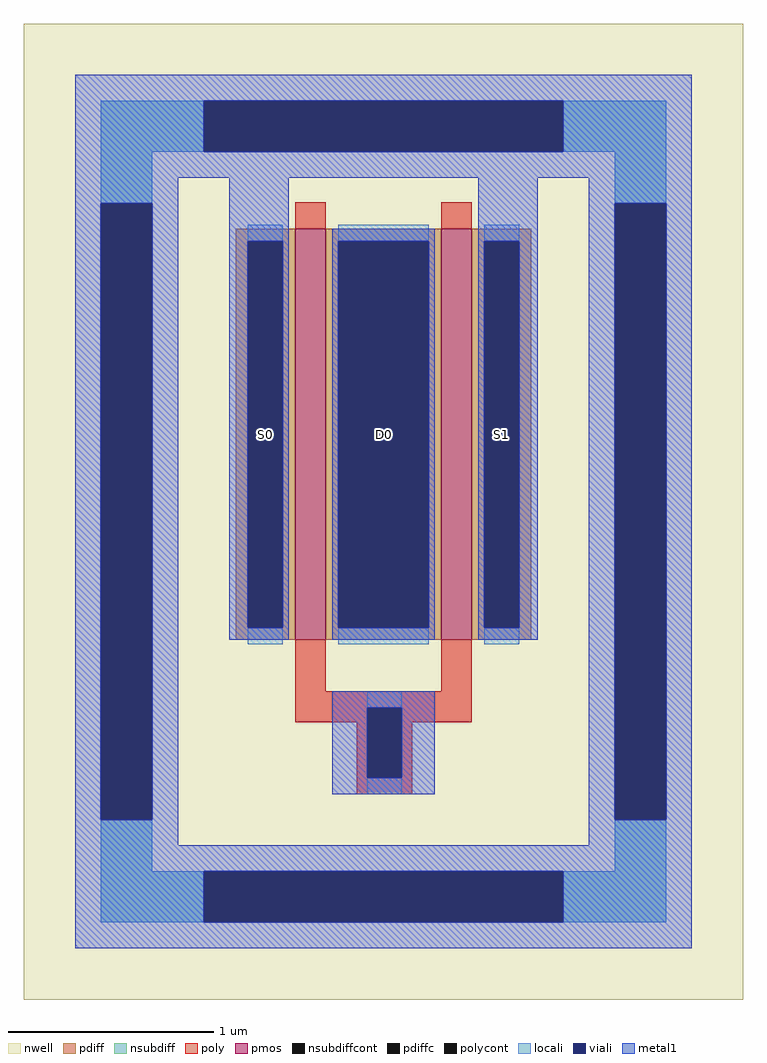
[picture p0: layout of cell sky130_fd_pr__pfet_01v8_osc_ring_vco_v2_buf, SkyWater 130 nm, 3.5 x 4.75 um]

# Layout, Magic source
magic
tech sky130A
magscale 1 2
<< nwell >>
rect -350 -200 350 750
<< pmos >>
rect -86 150 -56 550
rect 56 150 86 550
<< pdiff >>
rect -144 538 -86 550
rect -144 162 -132 538
rect -98 162 -86 538
rect -144 150 -86 162
rect -56 538 56 550
rect -56 162 -44 538
rect 44 162 56 538
rect -56 150 56 162
rect 86 538 144 550
rect 86 162 98 538
rect 132 162 144 538
rect 86 150 144 162
<< pdiffc >>
rect -132 162 -98 538
rect -44 162 44 538
rect 98 162 132 538
<< nsubdiff >>
rect -275 625 -175 675
rect 175 625 275 675
rect -275 575 -225 625
rect 225 575 275 625
rect -275 -75 -225 -25
rect 225 -75 275 -25
rect -275 -125 -175 -75
rect 175 -125 275 -75
<< nsubdiffcont >>
rect -175 625 175 675
rect -275 -25 -225 575
rect 225 -25 275 575
rect -175 -125 175 -75
<< poly >>
rect -86 550 -56 576
rect 56 550 86 576
rect -86 100 -56 150
rect 56 100 86 150
rect -86 84 86 100
rect -86 70 -16 84
rect -26 16 -16 70
rect 18 70 86 84
rect 18 16 28 70
rect -26 0 28 16
<< polycont >>
rect -16 16 18 84
<< locali >>
rect -275 625 -175 675
rect 175 625 275 675
rect -275 575 -225 625
rect 225 575 275 625
rect -132 538 -98 554
rect -132 146 -98 162
rect -44 538 44 554
rect -44 146 44 162
rect 98 538 132 554
rect 98 146 132 162
rect -16 84 18 100
rect -16 0 18 16
rect -275 -75 -225 -25
rect 225 -75 275 -25
rect -275 -125 -175 -75
rect 175 -125 275 -75
<< viali >>
rect -175 625 175 675
rect -275 -25 -225 575
rect -132 162 -98 538
rect -44 162 44 538
rect 98 162 132 538
rect -16 16 18 84
rect 225 -25 275 575
rect -175 -125 175 -75
<< metal1 >>
rect -300 675 300 700
rect -300 625 -175 675
rect 175 625 300 675
rect -300 600 300 625
rect -300 575 -200 600
rect -300 -25 -275 575
rect -225 -25 -200 575
rect -150 538 -92 600
rect -150 162 -132 538
rect -98 162 -92 538
rect -150 150 -92 162
rect -50 538 50 550
rect -50 162 -44 538
rect 44 162 50 538
rect -50 150 50 162
rect 92 538 150 600
rect 92 162 98 538
rect 132 162 150 538
rect 92 150 150 162
rect 200 575 300 600
rect -50 84 50 100
rect -50 16 -16 84
rect 18 16 50 84
rect -50 0 50 16
rect -300 -50 -200 -25
rect 200 -25 225 575
rect 275 -25 300 575
rect 200 -50 300 -25
rect -300 -75 300 -50
rect -300 -125 -175 -75
rect 175 -125 300 -75
rect -300 -150 300 -125
<< labels >>
rlabel pdiffc 1 350 1 350 0 D0
port 9 nsew
rlabel pdiffc 1 350 1 350 0 D1
port 12 nsew
rlabel pdiffc -115 350 -115 350 0 S0
port 10 nsew
rlabel pdiffc 115 350 115 350 0 S1
port 13 nsew
<< end >>
